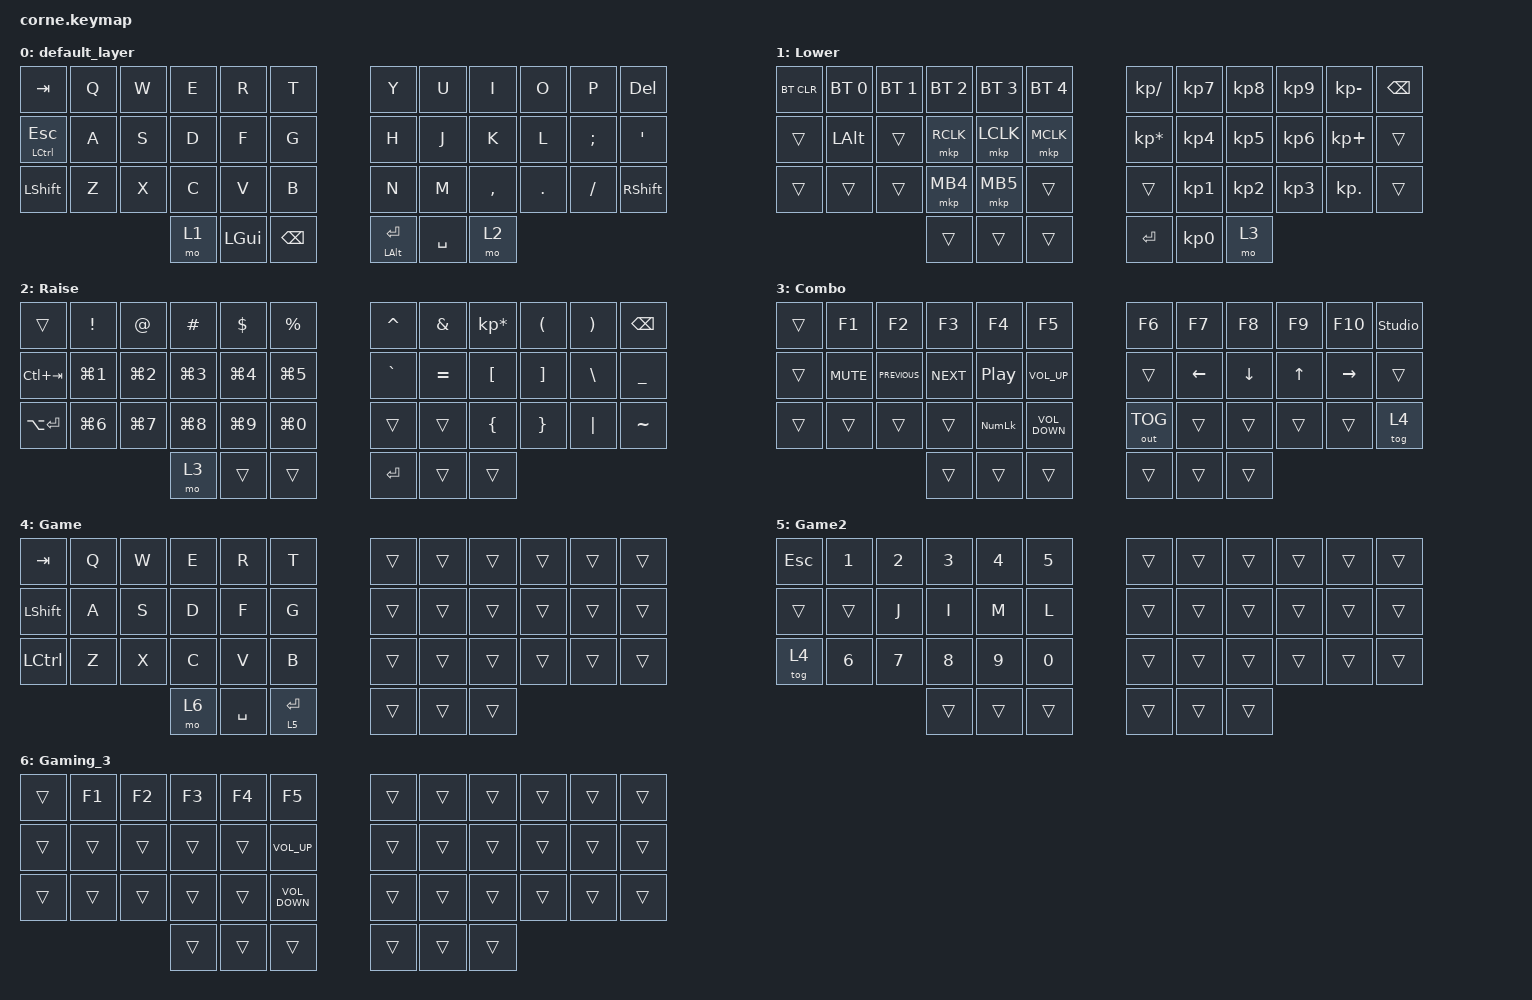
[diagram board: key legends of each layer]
/*
 * Copyright (c) 2020 The ZMK Contributors
 *
 * SPDX-License-Identifier: MIT
 */

#include <behaviors.dtsi>
#include <dt-bindings/zmk/bt.h>
#include <dt-bindings/zmk/keys.h>
#include <dt-bindings/zmk/outputs.h>
#include <dt-bindings/zmk/pointing.h>

/ {
    keymap {
        compatible = "zmk,keymap";

        default_layer {
            // -----------------------------------------------------------------------------------------
            // |  TAB |  Q  |  W  |  E  |  R  |  T  |   |  Y  |  U   |  I  |  O  |  P  | BKSP |
            // | CTRL |  A  |  S  |  D  |  F  |  G  |   |  H  |  J   |  K  |  L  |  ;  |  '   |
            // | SHFT |  Z  |  X  |  C  |  V  |  B  |   |  N  |  M   |  ,  |  .  |  /  | ESC  |
            //                    | GUI | LWR | SPC |   | ENT | RSE  | ALT |

            bindings = <
&kp TAB        &kp Q  &kp W  &kp E  &kp R     &kp T            &kp Y               &kp U      &kp I      &kp O    &kp P     &kp DEL
&mt LCTRL ESC  &kp A  &kp S  &kp D  &kp F     &kp G            &kp H               &kp J      &kp K      &kp L    &kp SEMI  &kp SQT
&kp LSHFT      &kp Z  &kp X  &kp C  &kp V     &kp B            &kp N               &kp M      &kp COMMA  &kp DOT  &kp FSLH  &kp RSHIFT
                             &mo 1  &kp LGUI  &kp BACKSPACE    &mt LEFT_ALT ENTER  &kp SPACE  &mo 2
            >;
        };

        lower_layer {
            // -----------------------------------------------------------------------------------------
            // |  TAB |  1  |  2  |  3  |  4  |  5  |   |  6  |  7  |  8  |  9  |  0  | BKSP |
            // | BTCLR| BT1 | BT2 | BT3 | BT4 | BT5 |   | LFT | DWN |  UP | RGT |     |      |
            // | SHFT |     |     |     |     |     |   |     |     |     |     |     |      |
            //                    | GUI |     | SPC |   | ENT |     | ALT |

            bindings = <
&bt BT_CLR  &bt BT_SEL 0  &bt BT_SEL 1  &bt BT_SEL 2  &bt BT_SEL 3  &bt BT_SEL 4    &kp KP_SLASH     &kp KP_N7  &kp KP_N8  &kp KP_N9  &kp KP_SUBTRACT  &kp BSPC
&trans      &kp LEFT_ALT  &trans        &mkp RCLK     &mkp LCLK     &mkp MCLK       &kp KP_MULTIPLY  &kp KP_N4  &kp KP_N5  &kp KP_N6  &kp KP_PLUS      &trans
&trans      &trans        &trans        &mkp MB4      &mkp MB5      &trans          &trans           &kp KP_N1  &kp KP_N2  &kp KP_N3  &kp KP_DOT       &trans
                                        &trans        &trans        &trans          &kp ENTER        &kp KP_N0  &mo 3
            >;

            label = "Lower";
        };

        raise_layer {
            // -----------------------------------------------------------------------------------------
            // |  TAB |  !  |  @  |  #  |  $  |  %  |   |  ^  |  &  |  *  |  (  |  )  | BKSP |
            // | CTRL |     |     |     |     |     |   |  -  |  =  |  [  |  ]  |  \  |  `   |
            // | SHFT |     |     |     |     |     |   |  _  |  +  |  {  |  }  | "|" |  ~   |
            //                    | GUI |     | SPC |   | ENT |     | ALT |

            bindings = <
&trans         &kp EXCL    &kp AT      &kp HASH    &kp DLLR    &kp PRCNT     &kp CARET  &kp AMPS   &kp KP_MULTIPLY  &kp LPAR  &kp RPAR  &kp BSPC
&kp LC(TAB)    &kp LG(N1)  &kp LG(N2)  &kp LG(N3)  &kp LG(N4)  &kp LG(N5)    &kp GRAVE  &kp EQUAL  &kp LBKT         &kp RBKT  &kp BSLH  &kp UNDERSCORE
&kp LA(ENTER)  &kp LG(N6)  &kp LG(N7)  &kp LG(N8)  &kp LG(N9)  &kp LG(N0)    &trans     &trans     &kp LBRC         &kp RBRC  &kp PIPE  &kp TILDE
                                       &mo 3       &trans      &trans        &kp RET    &trans     &trans
            >;

            label = "Raise";
        };

        combined_layer {
            bindings = <
&trans  &kp F1      &kp F2          &kp F3      &kp F4            &kp F5               &kp F6        &kp F7    &kp F8    &kp F9  &kp F10    &studio_unlock
&trans  &kp C_MUTE  &kp C_PREVIOUS  &kp C_NEXT  &kp C_PLAY_PAUSE  &kp C_VOLUME_UP      &trans        &kp LEFT  &kp DOWN  &kp UP  &kp RIGHT  &trans
&trans  &trans      &trans          &trans      &kp KP_NUMLOCK    &kp C_VOLUME_DOWN    &out OUT_TOG  &trans    &trans    &trans  &trans     &tog 4
                                    &trans      &trans            &trans               &trans        &trans    &trans
            >;

            label = "Combo";
        };

        gaming_layer {
            bindings = <
&kp TAB     &kp Q  &kp W  &kp E  &kp R      &kp T          &trans  &trans  &trans  &trans  &trans  &trans
&kp LSHIFT  &kp A  &kp S  &kp D  &kp F      &kp G          &trans  &trans  &trans  &trans  &trans  &trans
&kp LCTRL   &kp Z  &kp X  &kp C  &kp V      &kp B          &trans  &trans  &trans  &trans  &trans  &trans
                          &mo 6  &kp SPACE  &lt 5 ENTER    &trans  &trans  &trans
            >;

            label = "Game";
        };

        gaming_2 {
            bindings = <
&kp ESC  &kp N1        &kp N2        &kp N3        &kp N4        &kp N5          &trans  &trans  &trans  &trans  &trans  &trans
&trans   &trans        &kp J         &kp I         &kp M         &kp L           &trans  &trans  &trans  &trans  &trans  &trans
&tog 4   &kp NUMBER_6  &kp NUMBER_7  &kp NUMBER_8  &kp NUMBER_9  &kp NUMBER_0    &trans  &trans  &trans  &trans  &trans  &trans
                                     &trans        &trans        &trans          &trans  &trans  &trans
            >;

            label = "Game2";
        };

        Gaming_3 {
            bindings = <
&trans  &kp F1  &kp F2  &kp F3  &kp F4  &kp F5               &trans  &trans  &trans  &trans  &trans  &trans
&trans  &trans  &trans  &trans  &trans  &kp C_VOLUME_UP      &trans  &trans  &trans  &trans  &trans  &trans
&trans  &trans  &trans  &trans  &trans  &kp C_VOLUME_DOWN    &trans  &trans  &trans  &trans  &trans  &trans
                        &trans  &trans  &trans               &trans  &trans  &trans
            >;
        };
    };
};
